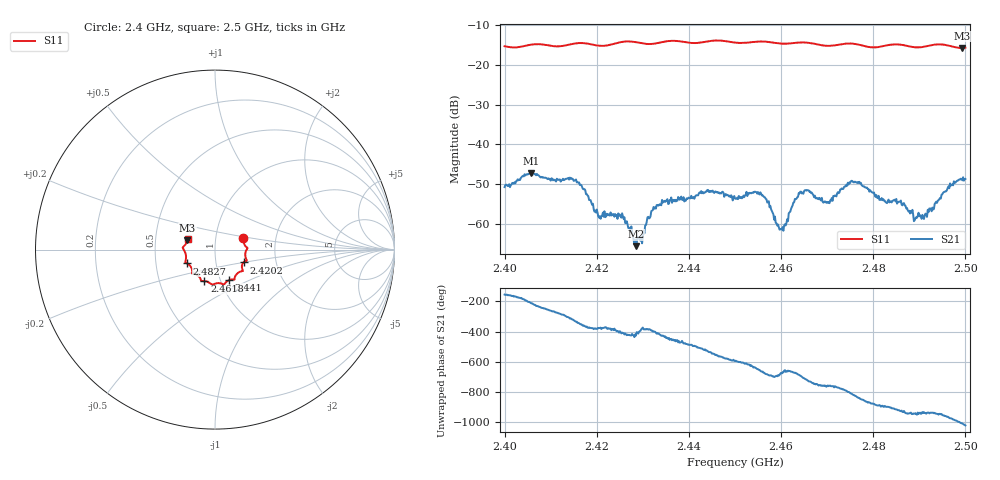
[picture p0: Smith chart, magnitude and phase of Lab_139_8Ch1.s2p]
# Hz S RI R 50
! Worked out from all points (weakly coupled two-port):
!   601 points, 2.4 GHz to 2.5 GHz, reference 50 ohm
!   highest |S21| = -47.22 dB at 2.4057 GHz (marker M1); lowest = -65.6 dB at 2.4285 GHz (marker M2)
!   lowest |S11| = -15.8 dB at 2.4993 GHz (marker M3), VSWR 1.39, Z = 36.5 + j3.81 ohm
!   |S11| at or under -10 dB: start of sweep to end of sweep
!   S12 and S22 are empty: the file has one direction only
!   S11 on the Smith chart (normalised r, x): 2.4 GHz: 1.36, +0.18; 2.4202 GHz: 1.36, -0.20; 2.441 GHz: 1.10, -0.39; 2.4618 GHz: 0.84, -0.30; 2.4827 GHz: 0.72, -0.11; 2.5 GHz: 0.73, +0.09
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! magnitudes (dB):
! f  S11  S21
! 2.4 GHz  -15.4  -50.7
! 2.4057 GHz  -15.0  -47.2
! 2.4167 GHz  -14.6  -50.2
! 2.4202 GHz  -15.2  -57.2
! 2.4255 GHz  -14.3  -57.3
! 2.4285 GHz  -14.3  -65.6
! 2.4333 GHz  -14.5  -55.4
! 2.441 GHz  -14.6  -53.2
! 2.4445 GHz  -14.1  -51.7
! 2.45 GHz  -14.4  -53.6
! 2.456 GHz  -14.2  -52.8
! 2.46 GHz  -14.7  -61.2
! 2.4618 GHz  -14.7  -57.1
! 2.4642 GHz  -14.4  -51.9
! 2.4667 GHz  -14.6  -52.1
! 2.4703 GHz  -15.3  -54.5
! 2.4757 GHz  -14.7  -49.5
! 2.4827 GHz  -15.2  -54.5
! 2.4833 GHz  -15.1  -53.9
! 2.491 GHz  -15.5  -58.8
! 2.4993 GHz  -15.8  -49.0
! 2.5 GHz  -15.7  -48.7
